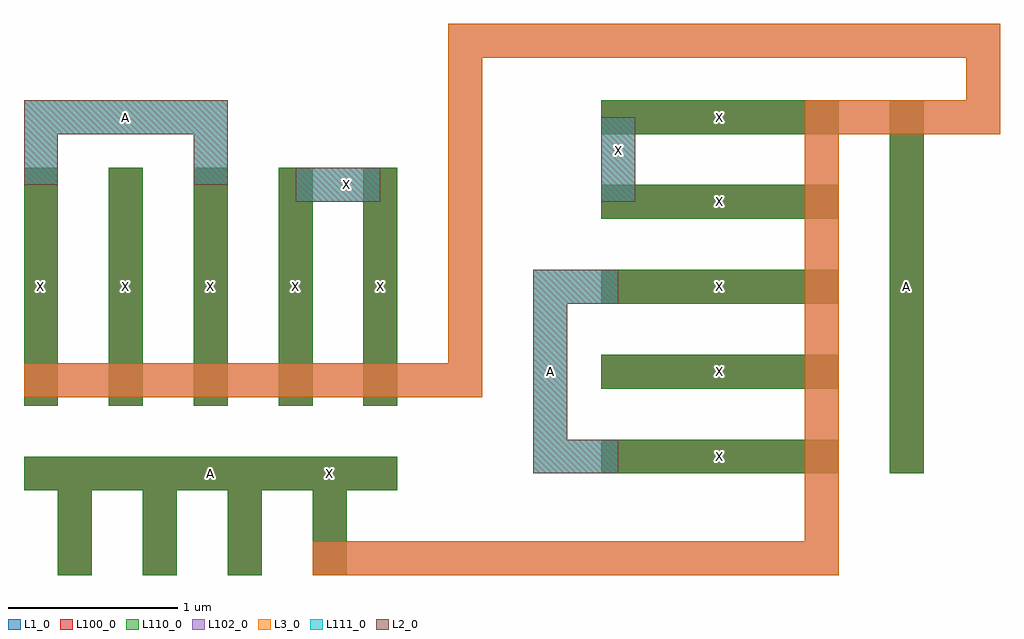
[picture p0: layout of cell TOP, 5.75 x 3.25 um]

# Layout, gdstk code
import gdstk
lib = gdstk.Library(unit=1e-6, precision=1e-09)
def R(c, l, rs):  # rectangles x0, y0, x1, y1
    for r in rs: c.add(gdstk.rectangle(r[:2], r[2:], *l))
def A(c, l, x, y, w, h, nx, ny, dx, dy):  # array of equal rectangles
    R(c, l, [(x+i*dx, y+j*dy, x+i*dx+w, y+j*dy+h) for i in range(nx) for j in range(ny)])
def P(c, l, *ps):  # polygons
    for p in ps: c.add(gdstk.Polygon(p, *l))
L1_0 = (1, 0)
L2_0 = (2, 0)
L3_0 = (3, 0)
L100_0 = (100, 0)
L102_0 = (102, 0)
L110_0 = (110, 0)
L111_0 = (111, 0)

top = lib.new_cell('TOP')
A(top, L1_0, 0.4, -0.3, 0.2, 0.7, 4, 1, 0.5, 0)
A(top, L1_0, 3.6, 0.3, 1.4, 0.2, 1, 5, 0, 0.5)
A(top, L1_0, 0.2, 0.7, 0.2, 1.4, 5, 1, 0.5, 0)
R(top, L1_0, [(0.2,0.2,2.4,0.4), (5.3,0.3,5.5,2.5)])
A(top, L100_0, 0.4, -0.3, 0.2, 0.7, 4, 1, 0.5, 0)
A(top, L100_0, 3.6, 0.3, 1.4, 0.2, 1, 5, 0, 0.5)
A(top, L100_0, 0.2, 0.7, 0.2, 1.4, 5, 1, 0.5, 0)
R(top, L100_0, [(0.2,0.2,2.4,0.4), (5.3,0.3,5.5,2.5)])
P(top, L100_0, [(2,0.3),(2,0.3),(2,0.3),(2,0.3)])
R(top, L102_0, [(1.9,-0.3,5,-0.1), (4.8,-0.1,5,0.95), (0.2,0.75,2.9,0.95), (2.7,0.95,2.9,2.75), (2.7,2.75,4.8,2.95)])
P(top, L102_0, [(4.8,0.95),(4.8,2.5),(5.75,2.5),(5.75,2.75),(4.8,2.75),(4.8,2.95),(5.95,2.95),(5.95,2.3),(5,2.3),(5,0.95)])
A(top, L110_0, 0.4, -0.3, 0.2, 0.7, 4, 1, 0.5, 0)
A(top, L110_0, 3.6, 0.3, 1.4, 0.2, 1, 5, 0, 0.5)
A(top, L110_0, 0.2, 0.7, 0.2, 1.4, 5, 1, 0.5, 0)
R(top, L110_0, [(0.2,0.2,2.4,0.4), (5.3,0.3,5.5,2.5)])
P(top, L110_0, [(2,0.3),(2,0.3),(2,0.3),(2,0.3)])
R(top, L111_0, [(1.8,1.9,2.3,2.1), (3.6,1.9,3.8,2.4)])
P(top, L111_0, [(0.2,2),(0.2,2.5),(1.4,2.5),(1.4,2),(1.2,2),(1.2,2.3),(0.4,2.3),(0.4,2)],
  [(3.2,0.3),(3.2,1.5),(3.7,1.5),(3.7,1.3),(3.4,1.3),(3.4,0.5),(3.7,0.5),(3.7,0.3)])
top.add(gdstk.FlexPath([(0.3,2),(0.3,2.4),(1.3,2.4),(1.3,2)], 0.2, ends="flush", simple_path=True, layer=2, datatype=0))  # L2_0
top.add(gdstk.FlexPath([(1.8,2),(2.3,2)], 0.2, ends="flush", simple_path=True, layer=2, datatype=0))  # L2_0
top.add(gdstk.FlexPath([(3.7,0.4),(3.3,0.4),(3.3,1.4),(3.7,1.4)], 0.2, ends="flush", simple_path=True, layer=2, datatype=0))  # L2_0
top.add(gdstk.FlexPath([(3.7,1.9),(3.7,2.4)], 0.2, ends="flush", simple_path=True, layer=2, datatype=0))  # L2_0
top.add(gdstk.FlexPath([(0.2,0.85),(2.8,0.85),(2.8,2.85),(5.85,2.85),(5.85,2.4),(4.9,2.4),(4.9,-0.2),(1.9,-0.2)], 0.2, ends="flush", simple_path=True, layer=3, datatype=0))  # L3_0
top.add(gdstk.Label('X', (2,0.3), layer=1, texttype=0))
top.add(gdstk.Label('A', (1.3,0.3), layer=1, texttype=0))
top.add(gdstk.Label('X', (0.3,1.4), layer=1, texttype=0))
top.add(gdstk.Label('X', (0.8,1.4), layer=1, texttype=0))
top.add(gdstk.Label('X', (1.3,1.4), layer=1, texttype=0))
top.add(gdstk.Label('X', (1.8,1.4), layer=1, texttype=0))
top.add(gdstk.Label('X', (2.3,1.4), layer=1, texttype=0))
top.add(gdstk.Label('A', (5.4,1.4), layer=1, texttype=0))
top.add(gdstk.Label('X', (4.3,0.4), layer=1, texttype=0))
top.add(gdstk.Label('X', (4.3,0.9), layer=1, texttype=0))
top.add(gdstk.Label('X', (4.3,1.4), layer=1, texttype=0))
top.add(gdstk.Label('X', (4.3,1.9), layer=1, texttype=0))
top.add(gdstk.Label('X', (4.3,2.4), layer=1, texttype=0))
top.add(gdstk.Label('A', (0.8,2.4), layer=2, texttype=0))
top.add(gdstk.Label('X', (2.1,2), layer=2, texttype=0))
top.add(gdstk.Label('A', (3.3,0.9), layer=2, texttype=0))
top.add(gdstk.Label('X', (3.7,2.2), layer=2, texttype=0))

lib.write_gds('TOP.gds')
